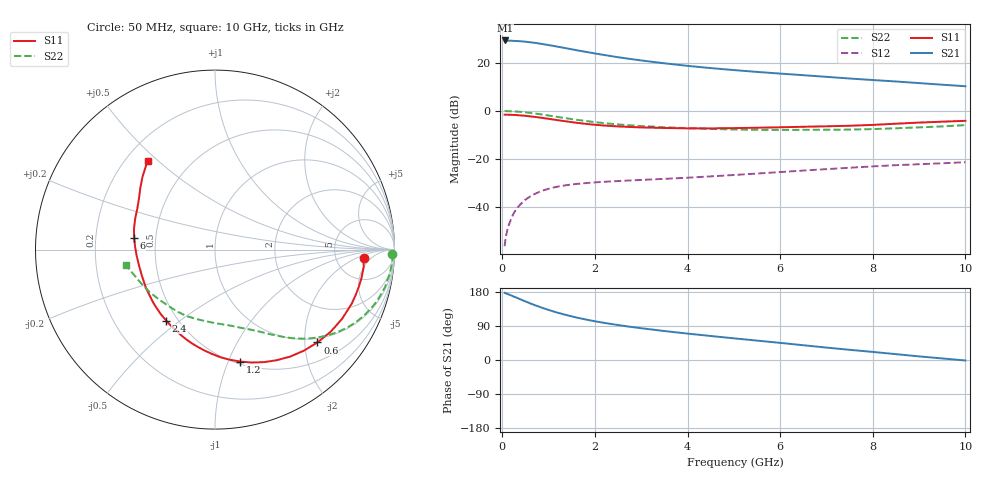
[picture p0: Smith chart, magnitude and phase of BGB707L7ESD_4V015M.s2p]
!  Infineon Technologies AG
!  BGB707L7ESD
!  Vce = 4.0V, Ic = 15.0mA
!  DATUM: 30.06.2009 10:58:35
# GHz  S  MA  R  50
!f  S11  S21  S12  S22
!GHz  Mag  Ang  Mag  Ang  Mag  Ang  Mag  Ang
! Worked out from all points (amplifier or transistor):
!   52 points, 50 MHz to 10 GHz, reference 50 ohm
!   highest |S21| = 29.4 dB at 60 MHz (marker M1)
!   |S21| within 3 dB of that: start of sweep to 1.309 GHz
!   unconditionally stable (mu >= 1): 4.759 GHz to 8.611 GHz
!   at 130 MHz: K = 0.13, MSG = 39.0 dB, |S12| = -48.5 dB
!   at 1.4 GHz: K = 0.36, MSG = 28.5 dB, |S12| = -31.0 dB
!   at 10 GHz: K = 0.92, MSG = 15.9 dB, |S12| = -21.4 dB
!   S11 on the Smith chart (normalised r, x): 50 MHz: 10, -3; 600 MHz: 0.90, -2.29; 1.2 GHz: 0.52, -1.11; 2.4 GHz: 0.43, -0.45; 6 GHz: 0.38, +0.06; 10 GHz: 0.29, +0.46
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0.05  0.8339 -3.2  29.11 177.3  0.001495 80.5  0.9888 -1.5
0.06  0.8335 -4.7  29.62 176.8  0.001796 79.9  0.9895 -2.0
0.08  0.8316 -5.6  29.14 175.6  0.002389 80.0  0.99 -3.0
0.13  0.8314 -9.4  29.38 173.5  0.00374 79.1  0.9876 -5.3
0.3  0.8194 -21.5  28.89 164.8  0.008748 76.3  0.9705 -12.3
0.45  0.7968 -32.1  28.23 157.0  0.01269 71.8  0.9438 -18.2
0.6  0.7704 -42.2  27.18 149.6  0.01631 67.1  0.9096 -23.7
0.7  0.7496 -48.7  26.46 144.8  0.01843 64.2  0.8838 -27.2
0.9  0.7059 -60.8  24.61 136.1  0.02213 59.0  0.8288 -33.3
1.2  0.6397 -77.2  21.9 124.6  0.02624 52.5  0.7472 -41.0
1.5  0.5821 -91.5  19.36 115.0  0.02905 47.9  0.6744 -47.2
1.8  0.5378 -104.0  17.15 107.0  0.03103 45.0  0.6155 -52.1
2  0.5135 -111.5  15.85 102.2  0.03212 43.6  0.5829 -55.0
2.4  0.4802 -124.4  13.7 94.1  0.03388 42.1  0.5324 -60.0
2.8  0.4593 -135.5  12.04 87.0  0.0354 41.7  0.497 -64.7
3.5  0.4401 -150.9  9.862 76.4  0.0381 42.5  0.4562 -72.3
4.5  0.4324 -167.7  7.84 63.4  0.04287 45.1  0.4205 -83.2
5.5  0.445 178.4  6.523 51.2  0.04914 47.1  0.4027 -96.9
6  0.455 172.0  6.021 45.2  0.05281 47.6  0.4004 -104.4
7  0.4771 158.7  5.148 32.7  0.06078 47.2  0.4042 -121.1
8.5  0.5403 140.3  4.117 15.4  0.07354 44.1  0.4339 -146.7
10  0.6211 127.3  3.276 -1.2  0.08487 40.1  0.505 -170.1
